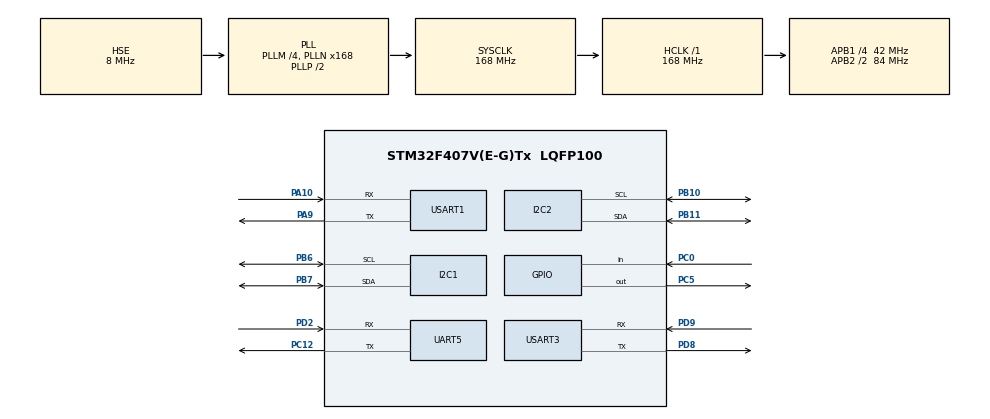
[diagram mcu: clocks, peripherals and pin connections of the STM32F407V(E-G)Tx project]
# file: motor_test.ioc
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Mcu.Family=STM32F4
Mcu.Name=STM32F407V(E-G)Tx
Mcu.Package=LQFP100
NVIC.PriorityGroup=NVIC_PRIORITYGROUP_4
NVIC.TIM7_IRQn=true\:15\:0\:false\:false\:true\:false\:true\:true
NVIC.TimeBase=TIM7_IRQn
NVIC.TimeBaseIP=TIM7
NVIC.UART5_IRQn=true\:0\:0\:false\:false\:true\:true\:true\:true
NVIC.USART1_IRQn=true\:0\:0\:false\:false\:true\:true\:true\:true
NVIC.USART3_IRQn=true\:0\:0\:false\:false\:true\:true\:true\:true
PA10.Mode=Asynchronous
PA10.Signal=USART1_RX
PA13.Mode=Serial_Wire
PA13.Signal=SYS_JTMS-SWDIO
PA14.Mode=Serial_Wire
PA14.Signal=SYS_JTCK-SWCLK
PA9.Mode=Asynchronous
PA9.Signal=USART1_TX
PB10.Mode=I2C
PB10.Signal=I2C2_SCL
PB11.Mode=I2C
PB11.Signal=I2C2_SDA
PB6.Mode=I2C
PB6.Signal=I2C1_SCL
PB7.Mode=I2C
PB7.Signal=I2C1_SDA
PC0.Signal=GPIO_Input
PC12.Mode=Asynchronous
PC12.Signal=UART5_TX
PC5.Signal=GPIO_Output
PD2.Mode=Asynchronous
PD2.Signal=UART5_RX
PD8.Mode=Asynchronous
PD8.Signal=USART3_TX
PD9.Mode=Asynchronous
PD9.Signal=USART3_RX
PH0-OSC_IN.Mode=HSE-External-Oscillator
PH0-OSC_IN.Signal=RCC_OSC_IN
PH1-OSC_OUT.Mode=HSE-External-Oscillator
PH1-OSC_OUT.Signal=RCC_OSC_OUT
ProjectManager.HeapSize=0x200
ProjectManager.StackSize=0x400
ProjectManager.TargetToolchain=MDK-ARM V5.32
RCC.48MHZClocksFreq_Value=84000000
RCC.AHBFreq_Value=168000000
RCC.APB1CLKDivider=RCC_HCLK_DIV4
RCC.APB1Freq_Value=42000000
RCC.APB1TimFreq_Value=84000000
RCC.APB2CLKDivider=RCC_HCLK_DIV2
RCC.APB2Freq_Value=84000000
RCC.APB2TimFreq_Value=168000000
RCC.CortexFreq_Value=168000000
RCC.HCLKFreq_Value=168000000
RCC.HSE_VALUE=8000000
RCC.HSI_VALUE=16000000
RCC.LSE_VALUE=32768
RCC.PLLM=4
RCC.PLLN=168
RCC.PLLSourceVirtual=RCC_PLLSOURCE_HSE
RCC.SYSCLKFreq_VALUE=168000000
RCC.SYSCLKSource=RCC_SYSCLKSOURCE_PLLCLK
RCC.VCOOutputFreq_Value=336000000
UART5.VirtualMode=Asynchronous
USART1.VirtualMode=VM_ASYNC
USART3.VirtualMode=VM_ASYNC
VP_SYS_VS_tim7.Mode=TIM7
board=custom

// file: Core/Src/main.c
/* USER CODE BEGIN Header */
/**
  ******************************************************************************
  * @file           : main.c
  * @brief          : Main program body
  ******************************************************************************
  * @attention
  *
  * Copyright (c) 2024 STMicroelectronics.
  * All rights reserved.
  *
  * This software is licensed under terms that can be found in the LICENSE file
  * in the root directory of this software component.
  * If no LICENSE file comes with this software, it is provided AS-IS.
  *
  ******************************************************************************
  */
/* USER CODE END Header */
#include "main.h"
#include "i2c.h"
#include "usart.h"
#include "gpio.h"

/* USER CODE BEGIN Includes */
#include <ctype.h>
#include "tools.h"
#include "pca9685.h"
#include "servo.h"
#include "string.h"
#include "oled.h"
/* USER CODE END Includes */

/* USER CODE BEGIN PD */
#define Test 1
/* USER CODE END PD */

/* USER CODE BEGIN PV */
  int numbers[7] = {0};                 // 用于存储每个数字，长度与输入字符串相同
  int num_index = 0;                    // 数组索引

uint8_t data2[13] = {0x04,0xFD,0x00,0x00,0x3C,0x00,0x00,0x00,0x0c,0x80,0x00,0x00,0x6B};//位置控制  命令格式：地址 + 0xFD + 方向 + 速度+ 加速度 + 脉冲数（4字节） + 相对/绝对模式标志 + 多机同步标志 + 校验字节 0x7D =32000
uint8_t data3[] = {0x02,0xFD,0x01,0x00,0x3C,0x00,0x00,0x00,0x19,0x00,0x00,0x00,0x6B};//位置控制  命令格式：地址 + 0xFD + 方向 + 速度+ 加速度 + 脉冲数（4字节） + 相对/绝对模式标志 + 多机同步标志 + 校验字节
uint8_t data4[] = {0x03,0xFD,0x01,0x00,0x3C,0x00,0x00,0x00,0x19,0x00,0x00,0x00,0x6B};//位置控制  命令格式：地址 + 0xFD + 方向 + 速度+ 加速度 + 脉冲数（4字节） + 相对/绝对模式标志 + 多机同步标志 + 校验字节
uint8_t data5[] = {0x04,0xFD,0x00,0x00,0x3C,0x00,0x00,0x00,0x19,0x00,0x00,0x00,0x6B};//位置控制  命令格式：地址 + 0xFD + 方向 + 速度+ 加速度 + 脉冲数（4字节） + 相对/绝对模式标志 + 多机同步标志 + 校验字节
//位置控制 初始设置为速度60rpm,脉冲6400，即1r/s，总共转2r（3200脉冲为1r）

//速度控制 初始设置为速度60rpm
uint8_t data10[5] = {0x01,0xFE,0x98,0x01,0x6B}; //立即停止
uint8_t data11[5] = {0x02,0xFE,0x98,0x01,0x6B}; //立即停止
uint8_t data12[5] = {0x03,0xFE,0x98,0x01,0x6B}; //立即停止
uint8_t data13[5] = {0x04,0xFE,0x98,0x01,0x6B}; //立即停止	同步控制
//速度控制 电机立即停止
uint8_t data14[] = {0x01,0xFD,0x00,0x00,0x6B,0x00,0x00,0x00,0x0c,0x80,0x00,0x00,0x6B};
uint8_t data15[] = {0x02,0xFD,0x00,0x00,0x6B,0x00,0x00,0x00,0x0c,0x80,0x00,0x00,0x6B};
uint8_t data16[] = {0x03,0xFD,0x00,0x00,0x6B,0x00,0x00,0x00,0x0c,0x80,0x00,0x00,0x6B};	//加入pca9685后，貌似无法做到3200脉冲/1r转一圈0x0c,0x80对应3200，现改为3700 0x0e,0x74
uint8_t data17[] = {0x04,0xFD,0x00,0x00,0x6B,0x00,0x00,0x00,0x0c,0x80,0x00,0x00,0x6B};	//右转

uint8_t data18[] = {0x01,0xFD,0x01,0x00,0x6B,0x00,0x00,0x00,0x0c,0x80,0x00,0x00,0x6B};
uint8_t data19[] = {0x02,0xFD,0x01,0x00,0x6B,0x00,0x00,0x00,0x0c,0x80,0x00,0x00,0x6B};
uint8_t data20[] = {0x03,0xFD,0x01,0x00,0x6B,0x00,0x00,0x00,0x0c,0x80,0x00,0x00,0x6B};
uint8_t data21[] = {0x04,0xFD,0x01,0x00,0x6B,0x00,0x00,0x00,0x0c,0x80,0x00,0x00,0x6B};	//左转

uint8_t data22[] = {0x01,0xFD,0x00,0x00,0x6B,0x00,0x00,0x00,0x19,0x00,0x00,0x00,0x6B};
uint8_t data23[] = {0x02,0xFD,0x00,0x00,0x6B,0x00,0x00,0x00,0x19,0x00,0x00,0x00,0x6B};
uint8_t data24[] = {0x03,0xFD,0x00,0x00,0x6B,0x00,0x00,0x00,0x19,0x00,0x00,0x00,0x6B};	//加入pca9685后，貌似无法做到3200脉冲/1r转一圈0x0c,0x80对应3200，6400 0x19,0x00
uint8_t data25[] = {0x04,0xFD,0x00,0x00,0x6B,0x00,0x00,0x00,0x19,0x00,0x00,0x00,0x6B};	//右转

const double pi =3.1416;
const double  rx =23;	//两个麦轮横向距离
const double  ry =17; //两个麦轮纵向距离
const double  r =5; //半径
const double standard_speed = 31.416; // 60rpm=1r/s  =0.31416m/s  =31.416cm/s

//usart通讯相关
//extern定义见usart.c
extern uint8_t bytedata[55];
extern uint8_t camdata[8];
extern uint8_t camByte;
extern uint8_t camChar[7];
extern uint8_t tdata[4];	//多机同步
//OpenMV接收指令

uint8_t qr='Q';					//识别二维码 或 一次颜色识别
uint8_t locate='R';				//地面定位
uint8_t locate_stuff='S';		//码垛前车体定位
uint8_t zr='Z';         //二次颜色识别
int a = 0; //用于循环控制定位
uint8_t my_data[8] = "123+321\0";
uint8_t color_data1[7] = "123+321";
uint8_t color_receive[7];
uint8_t colorOrder[2][3]={{1,2,3},{3,2,1}};	//抓取顺序，由openMV获得，第一维为轮数

//openmv测试
#define BUFFER_SIZE 64  // 定义缓冲区大小
uint8_t rx_byte;        // 单字节接收变量
char rx_buffer[BUFFER_SIZE];  // 数据缓冲区
uint8_t buffer_index = 0;     // 当前缓冲区索引
uint8_t data_ready = 0;       // 数据接收完成标志
volatile int center_x = 0;  // 全局变量表示中心 x 坐标
volatile int center_y = 0;  // 全局变量表示中心 y 坐标
volatile int last_center_x = -20;  // 全局变量表示中心 x 坐标
volatile int last_center_y = -20;  // 全局变量表示中心 y 坐标

/**/

/* USER CODE END PV */

void SystemClock_Config(void);
/* USER CODE BEGIN PFP */
void Motor_stop(void);
void Car_turn(int i);// i=0为右转
void ScanQR(void);

/* USER CODE END PFP */

/* USER CODE BEGIN 0 */
//先设定沿x轴运动 data[2]至data[5]
//先设定沿y轴运动
/* USER CODE END 0 */

int main(void)
{
  /* USER CODE BEGIN 1 */

	//目前设定流程为从启动区出发到物料盘前并识别物料//

  /* USER CODE END 1 */

  /* MCU Configuration--------------------------------------------------------*/

  /* Reset of all peripherals, Initializes the Flash interface and the Systick. */
  HAL_Init();

  /* Configure the system clock */
  SystemClock_Config();

  /* Initialize all configured peripherals */
  MX_GPIO_Init();
  MX_USART1_UART_Init();
  MX_I2C1_Init();
  MX_USART3_UART_Init();
  MX_UART5_Init();
  MX_I2C2_Init();
  /* USER CODE BEGIN 2 */

	PCA9685_Init();
	HAL_Delay(100);
	PCA9685_SetServoAngle(Chaos,40); //设定40为居中
	HAL_Delay(100);
	//PCA9685_SetServoAngle(UPPER,50); //假设此时夹爪与物料盘在同一高度
	HAL_Delay(100);
	PCA9685_SetServoAngle(JAW,40); //夹爪释放物料

	HAL_Delay(100);
	numbers[0]=1;
	numbers[1]=2;
	numbers[2]=3;
	//接收到了颜色顺序的数据

//这段测试为争对物料盘的定位
//这段测试为针对物料盘的定位
#if nTest
HAL_Delay(500);
HAL_UART_Transmit_IT(&huart1,&locate,sizeof(locate));
	HAL_Delay(500);																//发送命令让openmv识别圆环
	HAL_UART_Receive_IT(&huart1, &rx_byte, 1);  // 开启中断接收
	HAL_Delay(5);
	PCA9685_SetServoAngle(UPPER,-20); //适当降低高度以便更好识别
	HAL_Delay(100);
	while(center_x == 0);
	HAL_Delay(1000);

for(a=0;a<5;a++)
{

		if(center_x!=0)
	{
			if(152<=center_x&&center_x<=168&&114<=center_y&&center_y<=126)
		{
			Motor_stop();
			break;
		}
			else if(146<=center_x&&center_x<=172&&110<=center_y&&center_y<=130)
		{
			SetCarSpeed((160-center_x)/7.0,(center_y-120)/7.0,0);
			HAL_Delay(40);
			HAL_Delay(40);
			Motor_stop();
			HAL_Delay(300);
		}
			else if(140<=center_x&&center_x<=180&&105<=center_y&&center_y<=135)
		{
			SetCarSpeed((160-center_x)/8.0,(center_y-120)/7.0,0);
			HAL_Delay(70);
			HAL_Delay(70);
			Motor_stop();
			HAL_Delay(300);
		}
			else if(130<=center_x&&center_x<=190&&95<=center_y&&center_y<=155)
		{
			SetCarSpeed((160-center_x)/8.0,(center_y-120)/7.0,0);
			HAL_Delay(130);
			HAL_Delay(130);
			Motor_stop();
			HAL_Delay(300);
		}
			else
		{
			SetCarSpeed((160-center_x)/8.0,(center_y-120)/7.0,0);
			HAL_Delay(290);
			Motor_stop();
			HAL_Delay(300);
		}
	}
}
a=0;
HAL_Delay(500);
PCA9685_SetServoAngle(TRAY,-34);
	HAL_Delay(500);
	fangzhi();
	HAL_Delay(1000);
while(1);
#endif
//这段测试为定位好物料盘后，识别颜色后的抓取

	PCA9685_SetServoAngle(TRAY,-34);
	HAL_Delay(100);
	/*
  SetCarSpeed(-20,0,0);
	HAL_Delay(1100);
	Motor_stop();
	HAL_Delay(800);

	SetCarSpeed(0,30,0);
	HAL_Delay(1900);
	Motor_stop();				//这里是到了二维码前
	HAL_Delay(50);
	*/
	HAL_UART_Receive_IT(&huart5,color_receive,sizeof(color_receive));
	while(1);

	HAL_Delay(800);
	SetCarSpeed(0,30,0);
	HAL_Delay(3000);		//记得改回3000
	Motor_stop();
	HAL_Delay(500);
	Car_turn(0);
	HAL_Delay(1200);		//记得改回1200

//HAL_Delay(500);

HAL_UART_Transmit_IT(&huart1,&qr,sizeof(qr));
HAL_Delay(5);
HAL_Delay(50);																//发送命令让openmv扫描二维码并接收二维码信息
HAL_UART_Receive_IT(&huart1, &rx_byte, 1);  // 开启中断接收
HAL_Delay(50);
zhuaqu_1();
HAL_Delay(1500);

//以上为抓取物料

	SetCarSpeed(40,0,0);
	HAL_Delay(1050);
	Motor_stop();
	//以上为运行到转弯处
	HAL_Delay(1000);
	Car_turn(2);
	HAL_Delay(2000);
	//以上为转弯
	SetCarSpeed(0,0,-1);
	HAL_Delay(20);
	Motor_stop();
	//硬调方向
	HAL_Delay(1000);
	SetCarSpeed(0,30,0);
	HAL_Delay(2830);
	Motor_stop();
	HAL_Delay(1500);
	SetCarSpeed(0,0,-1);
	HAL_Delay(20);
	Motor_stop();
	HAL_Delay(1500);
	SetCarSpeed(0,30,0);
	HAL_Delay(2830);
	Motor_stop();
	HAL_Delay(1500);

	SetCarSpeed(15,0,0);
	HAL_Delay(955);
	Motor_stop();

	HAL_Delay(1000);
	SetCarSpeed(0,0,-1);
	HAL_Delay(20);
	Motor_stop();
	HAL_Delay(200);

	//放置处进行一次定位

	center_x=0;
	center_y=0;
//先经过一系列位移，到达暂存区。

HAL_Delay(500);
HAL_UART_Transmit_IT(&huart1,&locate,sizeof(locate));
	HAL_Delay(500);																//发送命令让openmv识别圆环
	HAL_UART_Receive_IT(&huart1, &rx_byte, 1);  // 开启中断接收
	HAL_Delay(5);
	PCA9685_SetServoAngle(UPPER,-20); //适当降低高度以便更好识别
	HAL_Delay(100);
	while(center_x == 0);
	HAL_Delay(1000);

for(a=0;a<5;a++)
{

		if(center_x!=0)
	{
			if(152<=center_x&&center_x<=168&&114<=center_y&&center_y<=126)
		{
			Motor_stop();
			break;
		}
			else if(146<=center_x&&center_x<=172&&110<=center_y&&center_y<=130)
		{
			SetCarSpeed((160-center_x)/7.0+1,(center_y-120)/7.0,0);
			HAL_Delay(40);
			HAL_Delay(40);
			Motor_stop();
			HAL_Delay(300);
		}
			else if(140<=center_x&&center_x<=180&&105<=center_y&&center_y<=135)
		{
			SetCarSpeed((160-center_x)/7.0+1,(center_y-120)/7.0,0);
			HAL_Delay(70);
			HAL_Delay(70);
			Motor_stop();
			HAL_Delay(300);
		}
			else if(130<=center_x&&center_x<=190&&95<=center_y&&center_y<=155)
		{
			SetCarSpeed((160-center_x)/7.0+1,(center_y-120)/7.0,0);
			HAL_Delay(140);
			HAL_Delay(140);
			Motor_stop();
			HAL_Delay(300);
		}
			else
		{
			SetCarSpeed((160-center_x)/7.0+1,(center_y-120)/7.0,0);
			HAL_Delay(300);
			Motor_stop();
			HAL_Delay(300);
		}
	}
}
a=0;

	HAL_Delay(1000);
	PCA9685_SetServoAngle(TRAY,-34);
	HAL_Delay(500);
	fangzhi();
	HAL_Delay(1000);

	PCA9685_SetServoAngle(TRAY,36);
	HAL_Delay(200);
	SetCarSpeed(-15,0,0);
	HAL_Delay(1020);
	Motor_stop();
	HAL_Delay(500);
	fangzhi();
	HAL_Delay(1000);
	PCA9685_SetServoAngle(TRAY,110);
	HAL_Delay(200);
	SetCarSpeed(-15,0,0);
	HAL_Delay(1020);
	Motor_stop();
	HAL_Delay(500);
	fangzhi();
	HAL_Delay(1000);

	//以上为放置

	PCA9685_SetServoAngle(TRAY,-34);

	HAL_Delay(200);
	SetCarSpeed(30,0,0);
	HAL_Delay(1020);
	Motor_stop();
	HAL_Delay(500);
	Gnd_to_Tray(1);
	HAL_Delay(100);
	PCA9685_SetServoAngle(TRAY,36);
	HAL_Delay(200);
	SetCarSpeed(-15,0,0);
	HAL_Delay(1020);
	Motor_stop();
	HAL_Delay(500);
	Gnd_to_Tray(1);
	HAL_Delay(100);
	PCA9685_SetServoAngle(TRAY,110);
	HAL_Delay(200);
	SetCarSpeed(-15,0,0);
	HAL_Delay(1025);
	Motor_stop();
	HAL_Delay(500);
	Gnd_to_Tray(1);
	HAL_Delay(500);
	Car_turn(0);
	HAL_Delay(1000);
	SetCarSpeed(0,0,-1);
	HAL_Delay(18);
	Motor_stop();

	/**/

	//以上为抓取

	HAL_Delay(1000);
	SetCarSpeed(0,30,0);
	HAL_Delay(3040);
	Motor_stop();
	HAL_Delay(1000);
	//前进
	Car_turn(0);
	HAL_Delay(1000);
	HAL_Delay(1000);
	SetCarSpeed(0,0,-1);
	HAL_Delay(25);
	Motor_stop();
	HAL_Delay(500);
	//硬调方向
	SetCarSpeed(0,30,0);
	HAL_Delay(3334);
	Motor_stop();
	//前进
	HAL_Delay(1000);
	Car_turn(1);
	//左转
	HAL_Delay(1000);
	SetCarSpeed(0,0,1);
	HAL_Delay(18);
	Motor_stop();
	HAL_Delay(500);

	center_x=0;
	center_y=0;
//先经过一系列位移，到达暂存区。

HAL_Delay(500);
HAL_UART_Transmit_IT(&huart1,&locate,sizeof(locate));
	HAL_Delay(500);																//发送命令让openmv识别圆环
	HAL_UART_Receive_IT(&huart1, &rx_byte, 1);  // 开启中断接收
	HAL_Delay(5);
	PCA9685_SetServoAngle(UPPER,-20); //适当降低高度以便更好识别
	HAL_Delay(100);
	while(center_x == 0);
	HAL_Delay(1000);

for(a=0;a<5;a++)
{

		if(center_x!=0)
	{
			if(152<=center_x&&center_x<=168&&114<=center_y&&center_y<=126)
		{
			Motor_stop();
			break;
		}
			else if(146<=center_x&&center_x<=172&&110<=center_y&&center_y<=130)
		{
			SetCarSpeed((160-center_x)/7.0+1,(center_y-120)/7.0,0);
			HAL_Delay(40);
			HAL_Delay(40);
			Motor_stop();
			HAL_Delay(300);
		}
			else if(140<=center_x&&center_x<=180&&105<=center_y&&center_y<=135)
		{
			SetCarSpeed((160-center_x)/7.0+1,(center_y-120)/7.0,0);
			HAL_Delay(70);
			HAL_Delay(70);
			Motor_stop();
			HAL_Delay(300);
		}
			else if(130<=center_x&&center_x<=190&&95<=center_y&&center_y<=155)
		{
			SetCarSpeed((160-center_x)/7.0+1,(center_y-120)/7.0,0);
			HAL_Delay(140);
			HAL_Delay(140);
			Motor_stop();
			HAL_Delay(300);
		}
			else
		{
			SetCarSpeed((160-center_x)/7.0+1,(center_y-120)/7.0,0);
			HAL_Delay(300);
			Motor_stop();
			HAL_Delay(300);
		}
	}
}
a=0;

	PCA9685_SetServoAngle(TRAY,-34);
	HAL_Delay(200);
	fangzhi();

	PCA9685_SetServoAngle(TRAY,36);
	HAL_Delay(200);
	SetCarSpeed(-15,0,0);
	HAL_Delay(1020);
	Motor_stop();
	HAL_Delay(500);
	fangzhi();
	HAL_Delay(2000);
	PCA9685_SetServoAngle(TRAY,110);
	HAL_Delay(200);
	SetCarSpeed(-15,0,0);
	HAL_Delay(1020);
	Motor_stop();
	HAL_Delay(500);
	fangzhi();
	HAL_Delay(2000);
	//以上为放置

//以上为完成第一轮放置
	Car_turn(0);
	HAL_Delay(1000);
	SetCarSpeed(0,30,0);
	HAL_Delay(3387);
	Motor_stop();
	HAL_Delay(1000);
	SetCarSpeed(30,0,0);
	HAL_Delay(1400);
	Motor_stop();
	HAL_Delay(2500);

	////////
	////////
	//此处到达了载物台前

HAL_UART_Transmit_IT(&huart1,&zr,sizeof(zr));
HAL_Delay(50);																//发送命令让openmv扫描二维码并接收二维码信息
HAL_UART_Receive_IT(&huart1, &rx_byte, 1);  // 开启中断接收
HAL_Delay(50);
zhuaqu_1();
HAL_Delay(1500);
/////以上为第一轮抓取放置直到运行到载物台前

SetCarSpeed(40,0,0);
	HAL_Delay(1050);
	Motor_stop();
	//以上为运行到转弯处
	HAL_Delay(1000);
	Car_turn(2);
	HAL_Delay(2000);
	//以上为转弯
	SetCarSpeed(0,0,-1);
	HAL_Delay(20);
	Motor_stop();
	//硬调方向
	HAL_Delay(1000);
	SetCarSpeed(0,30,0);
	HAL_Delay(2828);
	Motor_stop();
	HAL_Delay(1500);
	SetCarSpeed(0,0,-1);
	HAL_Delay(20);
	Motor_stop();
	HAL_Delay(1500);
	SetCarSpeed(0,30,0);
	HAL_Delay(2828);
	Motor_stop();
	HAL_Delay(1500);

	SetCarSpeed(15,0,0);
	HAL_Delay(955);
	Motor_stop();

	HAL_Delay(1000);
	SetCarSpeed(0,0,-1);
	HAL_Delay(20);
	Motor_stop();
	HAL_Delay(200);

	//放置处进行一次定位

	center_x=0;
	center_y=0;
//先经过一系列位移，到达暂存区。

HAL_Delay(500);
HAL_UART_Transmit_IT(&huart1,&locate,sizeof(locate));
	HAL_Delay(500);																//发送命令让openmv识别圆环
	HAL_UART_Receive_IT(&huart1, &rx_byte, 1);  // 开启中断接收
	HAL_Delay(5);
	PCA9685_SetServoAngle(UPPER,-20); //适当降低高度以便更好识别
	HAL_Delay(100);
	while(center_x == 0);
	HAL_Delay(1000);

for(a=0;a<5;a++)
{

		if(center_x!=0)
	{
			if(152<=center_x&&center_x<=168&&114<=center_y&&center_y<=126)
		{
			Motor_stop();
			break;
		}
			else if(146<=center_x&&center_x<=172&&110<=center_y&&center_y<=130)
		{
			SetCarSpeed((160-center_x)/7.0+1,(center_y-120)/7.0,0);
			HAL_Delay(40);
			HAL_Delay(40);
			Motor_stop();
			HAL_Delay(300);
		}
			else if(140<=center_x&&center_x<=180&&105<=center_y&&center_y<=135)
		{
			SetCarSpeed((160-center_x)/7.0+1,(center_y-120)/7.0,0);
			HAL_Delay(70);
			HAL_Delay(70);
			Motor_stop();
			HAL_Delay(300);
		}
			else if(130<=center_x&&center_x<=190&&95<=center_y&&center_y<=155)
		{
			SetCarSpeed((160-center_x)/7.0+1,(center_y-120)/7.0,0);
			HAL_Delay(140);
			HAL_Delay(140);
			Motor_stop();
			HAL_Delay(300);
		}
			else
		{
			SetCarSpeed((160-center_x)/7.0+1,(center_y-120)/7.0,0);
			HAL_Delay(300);
			Motor_stop();
			HAL_Delay(300);
		}
	}
}
a=0;

	HAL_Delay(1000);
	PCA9685_SetServoAngle(TRAY,-34);
	HAL_Delay(500);
	fangzhi();
	HAL_Delay(1000);

	PCA9685_SetServoAngle(TRAY,36);
	HAL_Delay(200);
	SetCarSpeed(-15,0,0);
	HAL_Delay(1020);
	Motor_stop();
	HAL_Delay(500);
	fangzhi();
	HAL_Delay(1000);
	PCA9685_SetServoAngle(TRAY,110);
	HAL_Delay(200);
	SetCarSpeed(-15,0,0);
	HAL_Delay(1020);
	Motor_stop();
	HAL_Delay(500);
	fangzhi();
	HAL_Delay(1000);

	//以上为放置

	PCA9685_SetServoAngle(TRAY,-34);

	HAL_Delay(200);
	SetCarSpeed(30,0,0);
	HAL_Delay(1020);
	Motor_stop();
	HAL_Delay(500);
	Gnd_to_Tray(1);
	HAL_Delay(100);
	PCA9685_SetServoAngle(TRAY,36);
	HAL_Delay(200);
	SetCarSpeed(-15,0,0);
	HAL_Delay(1020);
	Motor_stop();
	HAL_Delay(500);
	Gnd_to_Tray(1);
	HAL_Delay(100);
	PCA9685_SetServoAngle(TRAY,110);
	HAL_Delay(200);
	SetCarSpeed(-15,0,0);
	HAL_Delay(1025);
	Motor_stop();
	HAL_Delay(500);
	Gnd_to_Tray(1);
	HAL_Delay(500);
	Car_turn(0);
	HAL_Delay(1000);
	SetCarSpeed(0,0,-1);
	HAL_Delay(18);
	Motor_stop();

	/**/

	//以上为抓取

	HAL_Delay(1000);
	SetCarSpeed(0,30,0);
	HAL_Delay(3040);
	Motor_stop();
	HAL_Delay(1000);
	//前进
	Car_turn(0);
	HAL_Delay(1000);
	HAL_Delay(1000);
	SetCarSpeed(0,0,-1);
	HAL_Delay(25);
	Motor_stop();
	HAL_Delay(500);
	//硬调方向
	SetCarSpeed(0,40,0);
	HAL_Delay(2500);
	Motor_stop();
	//前进
	HAL_Delay(1000);
	Car_turn(1);
	//左转
	HAL_Delay(1000);
	SetCarSpeed(0,0,1);
	HAL_Delay(18);
	Motor_stop();
	HAL_Delay(500);

	center_x=0;
	center_y=0;
//先经过一系列位移，到达暂存区。

HAL_Delay(500);
HAL_UART_Transmit_IT(&huart1,&locate,sizeof(locate));
	HAL_Delay(500);																//发送命令让openmv识别圆环
	HAL_UART_Receive_IT(&huart1, &rx_byte, 1);  // 开启中断接收
	HAL_Delay(5);
	PCA9685_SetServoAngle(UPPER,-20); //适当降低高度以便更好识别
	HAL_Delay(100);
	while(center_x == 0);
	HAL_Delay(1000);

for(a=0;a<5;a++)
{

		if(center_x!=0)
	{
			if(152<=center_x&&center_x<=168&&114<=center_y&&center_y<=126)
		{
			Motor_stop();
			break;
		}
			else if(146<=center_x&&center_x<=172&&110<=center_y&&center_y<=130)
		{
			SetCarSpeed((160-center_x)/7.0+1,(center_y-120)/7.0,0);
			HAL_Delay(40);
			HAL_Delay(40);
			Motor_stop();
			HAL_Delay(300);
		}
			else if(140<=center_x&&center_x<=180&&105<=center_y&&center_y<=135)
		{
			SetCarSpeed((160-center_x)/7.0+1,(center_y-120)/7.0,0);
			HAL_Delay(70);
			HAL_Delay(70);
			Motor_stop();
			HAL_Delay(300);
		}
			else if(130<=center_x&&center_x<=190&&95<=center_y&&center_y<=155)
		{
			SetCarSpeed((160-center_x)/7.0+1,(center_y-120)/7.0,0);
			HAL_Delay(140);
			HAL_Delay(140);
			Motor_stop();
			HAL_Delay(300);
		}
			else
		{
			SetCarSpeed((160-center_x)/7.0+1,(center_y-120)/7.0,0);
			HAL_Delay(300);
			Motor_stop();
			HAL_Delay(300);
		}
	}
}
a=0;

	PCA9685_SetServoAngle(TRAY,-34);
	HAL_Delay(200);
	fangzhi();

	PCA9685_SetServoAngle(TRAY,36);
	HAL_Delay(200);
	SetCarSpeed(-15,0,0);
	HAL_Delay(1020);
	Motor_stop();
	HAL_Delay(500);
	fangzhi();
	HAL_Delay(2000);
	PCA9685_SetServoAngle(TRAY,110);
	HAL_Delay(200);
	SetCarSpeed(-15,0,0);
	HAL_Delay(1020);
	Motor_stop();
	HAL_Delay(500);
	fangzhi();
	HAL_Delay(2000);
	//以上为放置

  /* USER CODE END 2 */

  /* Infinite loop */
  while (1)
  {

    /* USER CODE BEGIN 3 */

			//if (HAL_UART_Transmit_IT(&huart1,&locate_stuff,sizeof(locate_stuff))== HAL_OK)
			{HAL_GPIO_TogglePin(GPIOC,GPIO_PIN_5);
			HAL_Delay(500);}
			HAL_Delay(2);

	}
		//HAL_GPIO_WritePin(GPIOC,GPIO_PIN_5,GPIO_PIN_SET);
		//HAL_Delay(1);

  /* USER CODE END 3 */
}

void SystemClock_Config(void)
{
  RCC_OscInitTypeDef RCC_OscInitStruct = {0};
  RCC_ClkInitTypeDef RCC_ClkInitStruct = {0};

  /** Configure the main internal regulator output voltage
  */
  __HAL_RCC_PWR_CLK_ENABLE();
  __HAL_PWR_VOLTAGESCALING_CONFIG(PWR_REGULATOR_VOLTAGE_SCALE1);

  /** Initializes the RCC Oscillators according to the specified parameters
  * in the RCC_OscInitTypeDef structure.
  */
  RCC_OscInitStruct.OscillatorType = RCC_OSCILLATORTYPE_HSE;
  RCC_OscInitStruct.HSEState = RCC_HSE_ON;
  RCC_OscInitStruct.PLL.PLLState = RCC_PLL_ON;
  RCC_OscInitStruct.PLL.PLLSource = RCC_PLLSOURCE_HSE;
  RCC_OscInitStruct.PLL.PLLM = 4;
  RCC_OscInitStruct.PLL.PLLN = 168;
  RCC_OscInitStruct.PLL.PLLP = RCC_PLLP_DIV2;
  RCC_OscInitStruct.PLL.PLLQ = 4;
  if (HAL_RCC_OscConfig(&RCC_OscInitStruct) != HAL_OK)
  {
    Error_Handler();
  }

  /** Initializes the CPU, AHB and APB buses clocks
  */
  RCC_ClkInitStruct.ClockType = RCC_CLOCKTYPE_HCLK|RCC_CLOCKTYPE_SYSCLK
                              |RCC_CLOCKTYPE_PCLK1|RCC_CLOCKTYPE_PCLK2;
  RCC_ClkInitStruct.SYSCLKSource = RCC_SYSCLKSOURCE_PLLCLK;
  RCC_ClkInitStruct.AHBCLKDivider = RCC_SYSCLK_DIV1;
  RCC_ClkInitStruct.APB1CLKDivider = RCC_HCLK_DIV4;
  RCC_ClkInitStruct.APB2CLKDivider = RCC_HCLK_DIV2;

  if (HAL_RCC_ClockConfig(&RCC_ClkInitStruct, FLASH_LATENCY_5) != HAL_OK)
  {
    Error_Handler();
  }
}

/* USER CODE BEGIN 4 */
void Motor_stop(void)
{
	HAL_UART_Transmit_IT(&huart3,data10,sizeof(data10));
	HAL_Delay(1);
	HAL_UART_Transmit_IT(&huart3,data11,sizeof(data11));
	HAL_Delay(1);
	HAL_UART_Transmit_IT(&huart3,data12,sizeof(data12));
	HAL_Delay(1);
	HAL_UART_Transmit_IT(&huart3,data13,sizeof(data13));
	HAL_Delay(1);
	HAL_UART_Transmit_IT(&huart3,tdata,sizeof(tdata));
	HAL_Delay(2);
}

void Car_turn(int i)
{
	if(i==0)
	{HAL_UART_Transmit_IT(&huart3,data14,sizeof(data14));
	HAL_Delay(1);
	HAL_UART_Transmit_IT(&huart3,data15,sizeof(data15));
	HAL_Delay(1);
	HAL_UART_Transmit_IT(&huart3,data16,sizeof(data16));
	HAL_Delay(1);
	HAL_UART_Transmit_IT(&huart3,data17,sizeof(data17));
	HAL_Delay(1);
	//HAL_UART_Transmit_IT(&huart3,tdata,sizeof(tdata));
	//HAL_Delay(2);
	}

	else if(i==1)
	{

	HAL_UART_Transmit_IT(&huart3,data18,sizeof(data18));
	HAL_Delay(1);
	HAL_UART_Transmit_IT(&huart3,data19,sizeof(data19));
	HAL_Delay(1);
	HAL_UART_Transmit_IT(&huart3,data20,sizeof(data20));
	HAL_Delay(1);
	HAL_UART_Transmit_IT(&huart3,data21,sizeof(data21));
	HAL_Delay(1);
	//HAL_UART_Transmit_IT(&huart3,tdata,sizeof(tdata));
	//HAL_Delay(2);

	}
	else if(i==2)
	{
	HAL_UART_Transmit_IT(&huart3,data22,sizeof(data22));
	HAL_Delay(1);
	HAL_UART_Transmit_IT(&huart3,data23,sizeof(data23));
	HAL_Delay(1);
	HAL_UART_Transmit_IT(&huart3,data24,sizeof(data24));
	HAL_Delay(1);
	HAL_UART_Transmit_IT(&huart3,data25,sizeof(data25));
	HAL_Delay(1);
	}

	//SetCarSpeed(0,0,31.416/40.0); 也许能用，预期效果原地右转
}

void Locate_1(void)
{
	for(a=0;a<3;a++)
{
		if(center_x!=0)
	{
			if(150<=center_x&&center_x<=170&&100<=center_y&&center_y<=130)
			{break;}
			else if(130<=center_x&&center_x<=190&&90<=center_y&&center_y<=150)
		{
			SetCarSpeed((160-center_x)/8.0,(center_y-120)/8.0,0);
			HAL_Delay(245);
			Motor_stop();
			HAL_Delay(500);
		}
			else if(115<=center_x&&center_x<=205&&75<=center_y&&center_y<=165)
		{
			SetCarSpeed((160-center_x)/8.0,(center_y-120)/8.0,0);
			HAL_Delay(295);
			Motor_stop();
			HAL_Delay(500);
		}
			else
		{
			SetCarSpeed((160-center_x)/8.0,(center_y-120)/8.0,0);
			HAL_Delay(385);
			Motor_stop();
			HAL_Delay(500);
		}
	}
}
a=0;
}

/************************************
* ScanQR：从openMV读取原料位置
* 储存为colorOrder
************************************/
void ScanQR(void)
{
	HAL_UART_Transmit_IT(&huart5,&qr,sizeof(qr));
	HAL_Delay(5);
	HAL_UART_Receive_IT(&huart5,color_receive,sizeof(color_receive));
	 // 遍历 color_receive 提取数字
    for (int i = 0; i < 7; i++) {
        if (isdigit(color_receive[i])) {      // 检测是否是数字字符
            numbers[num_index++] = color_receive[i] - '0'; // 转换为整数并存入数组
        }
    }
}

void HAL_UART_RxCpltCallback(UART_HandleTypeDef *huart) {
    if (huart->Instance == USART1) {  // 确保是 USART3 的中断
       // static uint8_t rx_byte;       // 单字节接收变量
				last_center_x=center_x;
				last_center_y=center_y;
        // 接收数据并放入缓冲区
        HAL_UART_Receive_IT(&huart1, &rx_byte, 1);  // 再次启动中断接收
        if (rx_byte == '\n') {        // 检测到结束符
            rx_buffer[buffer_index] = '\0';  // 添加字符串结束符
            buffer_index = 0;        // 重置缓冲区索引

            // 解析接收到的数据

            char *token = strtok(rx_buffer, ",");  // 按逗号分隔
            if (token != NULL) {
                center_x = atoi(token);           // 更新中心 x 坐标
                token = strtok(NULL, ",");
                if (token != NULL) {
                    center_y = atoi(token);       // 更新中心 y 坐标
                }
            }

        } else {
            // 防止缓冲区溢出
            if (buffer_index < BUFFER_SIZE - 1) {
                rx_buffer[buffer_index++] = rx_byte;
            }
        }
    }

		if (huart->Instance == UART5) {  // 确保是 UART5 的中断
			HAL_UART_Receive_IT(&huart5,color_receive,sizeof(color_receive));}

}
/* USER CODE END 4 */

void HAL_TIM_PeriodElapsedCallback(TIM_HandleTypeDef *htim)
{
  if (htim->Instance == TIM7) {
    HAL_IncTick();
  }
}

void Error_Handler(void)
{
  __disable_irq();
  while (1)
  {
  }
}
